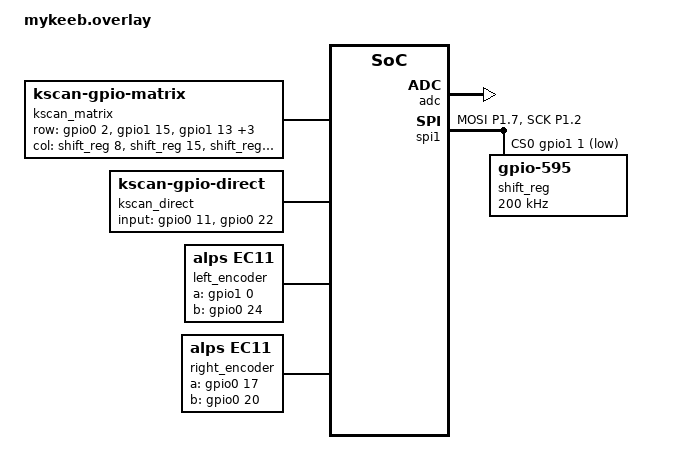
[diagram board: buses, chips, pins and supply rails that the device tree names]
#include "mykeeb_physical_layout.dtsi"
#include "mykeeb_matrix_transform.dtsi"

/ {
    chosen {
        zmk,kscan = &kscan0;
        zmk,physical-layout = &physical_layout;
    };

    kscan0: kscan_composite {
        compatible = "zmk,kscan-composite";
        rows = <7>;
        columns = <15>;
        label = "KSCAN";
        
        matrix {
            kscan = <&kscan_matrix>;
        };
        
        direct {
            kscan = <&kscan_direct>;
            row-offset = <6>;
        };
    };

    kscan_matrix: kscan_matrix {
        compatible = "zmk,kscan-gpio-matrix";
        diode-direction = "col2row";
        // wakeup-source;
        
        row-gpios
            = <&gpio0 2 (GPIO_ACTIVE_HIGH | GPIO_PULL_DOWN)>
            , <&gpio1 15 (GPIO_ACTIVE_HIGH | GPIO_PULL_DOWN)>
            , <&gpio1 13 (GPIO_ACTIVE_HIGH | GPIO_PULL_DOWN)>
            , <&gpio1 11 (GPIO_ACTIVE_HIGH | GPIO_PULL_DOWN)>
            , <&gpio0 9 (GPIO_ACTIVE_HIGH | GPIO_PULL_DOWN)>
            , <&gpio0 10 (GPIO_ACTIVE_HIGH | GPIO_PULL_DOWN)>
            ;
        
        col-gpios
            = <&shift_reg 8 GPIO_ACTIVE_HIGH>
            , <&shift_reg 15 GPIO_ACTIVE_HIGH>
            , <&shift_reg 14 GPIO_ACTIVE_HIGH>
            , <&shift_reg 13 GPIO_ACTIVE_HIGH>
            , <&shift_reg 12 GPIO_ACTIVE_HIGH>
            , <&shift_reg 11 GPIO_ACTIVE_HIGH>
            , <&shift_reg 10 GPIO_ACTIVE_HIGH>
            , <&shift_reg 9 GPIO_ACTIVE_HIGH>
            , <&shift_reg 7 GPIO_ACTIVE_HIGH>
            , <&shift_reg 6 GPIO_ACTIVE_HIGH>
            , <&shift_reg 5 GPIO_ACTIVE_HIGH>
            , <&shift_reg 4 GPIO_ACTIVE_HIGH>
            , <&shift_reg 3 GPIO_ACTIVE_HIGH>
            , <&shift_reg 2 GPIO_ACTIVE_HIGH>
            , <&shift_reg 1 GPIO_ACTIVE_HIGH>
            ;
    };

    kscan_direct: kscan_direct {
        compatible = "zmk,kscan-gpio-direct";
        input-gpios = <&gpio0 11 (GPIO_ACTIVE_HIGH | GPIO_PULL_DOWN)>, <&gpio0 22 (GPIO_ACTIVE_HIGH | GPIO_PULL_DOWN)>;
        // wakeup-source;
    };

    // soft_off_wakers {
    //     compatible = "zmk,soft-off-wakeup-sources";
    //     wakeup-sources = <&kscan0>;
    // };
    
    left_encoder: encoder_left {
        compatible = "alps,ec11";
        a-gpios = <&gpio1 0 (GPIO_ACTIVE_HIGH | GPIO_PULL_UP)>;
        b-gpios = <&gpio0 24 (GPIO_ACTIVE_HIGH | GPIO_PULL_UP)>;
        steps = <80>;
        status = "okay";
    };
    
    right_encoder: encoder_right {
        compatible = "alps,ec11";
        a-gpios = <&gpio0 17 (GPIO_ACTIVE_HIGH | GPIO_PULL_UP)>;
        b-gpios = <&gpio0 20 (GPIO_ACTIVE_HIGH | GPIO_PULL_UP)>;
        steps = <80>;
        status = "okay";
    };
    
    sensors: sensors {
        compatible = "zmk,keymap-sensors";
        sensors = <&left_encoder>, <&right_encoder>;
        triggers-per-rotation = <20>;
    };

    // vbatt: vbatt {
    //     compatible = "zmk,battery-voltage-divider";
    //     io-channels = <&adc 2>;
    //     output-ohms = <2000000>;
    //     full-ohms = <(2000000 + 806000)>;
    // };
};

&adc {
	status = "okay";
};


&spi1 {
    compatible = "nordic,nrf-spim";
    status = "okay";
    
    pinctrl-0 = <&spi1_default>;
    pinctrl-1 = <&spi1_sleep>;
    pinctrl-names = "default", "sleep";
    cs-gpios = <&gpio1 1 GPIO_ACTIVE_LOW>;
    
    shift_reg: 595@0 {
        compatible = "zmk,gpio-595";
        status = "okay";
        gpio-controller;
        spi-max-frequency = <200000>;
        #gpio-cells = <2>;
        reg = <0>;
        ngpios = <16>;
    };
};

&pinctrl {
    spi1_default: spi1_default {
        group1 {
            psels = <NRF_PSEL(SPIM_MOSI, 1, 7)>, <NRF_PSEL(SPIM_SCK, 1, 2)>;
        };
    };

    spi1_sleep: spi1_sleep {
        group1 {
            psels = <NRF_PSEL(SPIM_MOSI, 1, 7)>, <NRF_PSEL(SPIM_SCK, 1, 2)>;
            low-power-enable;
        };
    };
};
